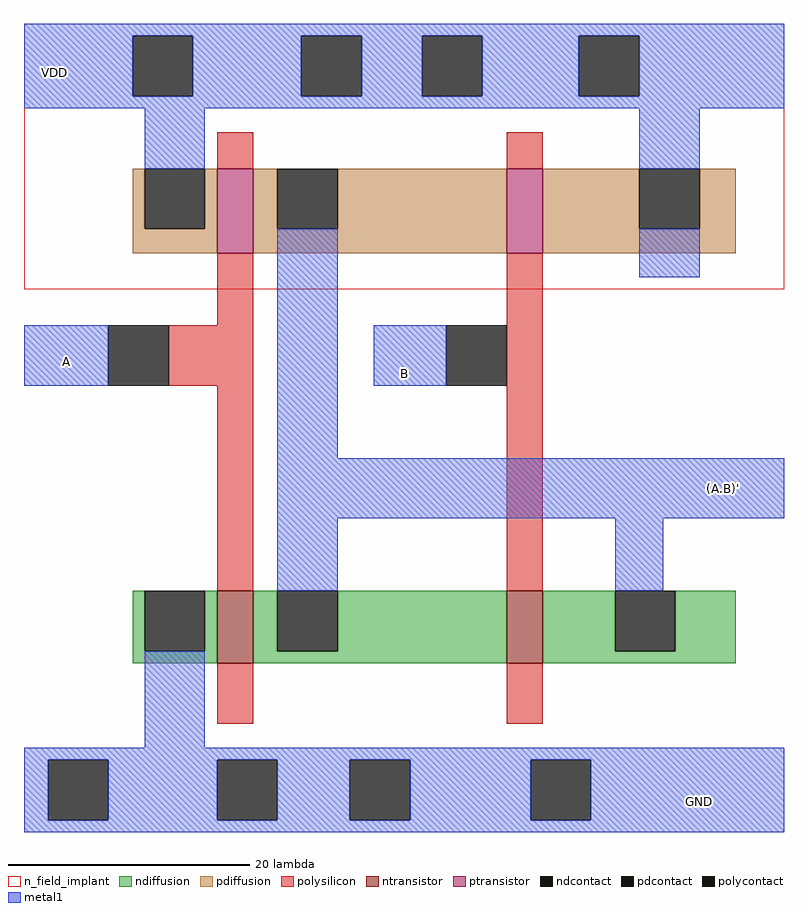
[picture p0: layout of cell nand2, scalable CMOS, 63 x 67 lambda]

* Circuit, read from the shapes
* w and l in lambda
.subckt nand2 A B GND VDD
M1 n1 A GND VSUBS nfet w=6 l=3
M2 n1 B n1 VSUBS nfet w=6 l=3
M3 n1 A VDD NWELL pfet w=7 l=3
M4 VDD B n1 NWELL pfet w=7 l=3
.ends

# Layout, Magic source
magic
tech scmos
<< n_field_implant >>
rect -19 -1 44 21
<< ntransistor >>
rect -3 -32 0 -26
rect 21 -32 24 -26
<< ptransistor >>
rect -3 2 0 9
rect 21 2 24 9
<< ndiffusion >>
rect -10 -31 -9 -26
rect -4 -31 -3 -26
rect -10 -32 -3 -31
rect 0 -31 2 -26
rect 7 -31 21 -26
rect 0 -32 21 -31
rect 24 -31 30 -26
rect 35 -31 40 -26
rect 24 -32 40 -31
<< pdiffusion >>
rect -10 4 -9 9
rect -4 4 -3 9
rect -10 2 -3 4
rect 0 4 2 9
rect 7 4 21 9
rect 0 2 21 4
rect 24 4 32 9
rect 37 4 40 9
rect 24 2 40 4
<< ndcontact >>
rect -9 -31 -4 -26
rect 2 -31 7 -26
rect 30 -31 35 -26
rect -17 -45 -12 -40
rect -3 -45 2 -40
rect 8 -45 13 -40
rect 23 -45 28 -40
<< pdcontact >>
rect -10 15 -5 20
rect 4 15 9 20
rect 14 15 19 20
rect 27 15 32 20
rect -9 4 -4 9
rect 2 4 7 9
rect 32 4 37 9
<< polysilicon >>
rect -3 9 0 12
rect 21 9 24 12
rect -3 -4 0 2
rect -7 -9 0 -4
rect -3 -26 0 -9
rect 21 -26 24 2
rect -3 -37 0 -32
rect 21 -37 24 -32
<< polycontact >>
rect -12 -9 -7 -4
rect 16 -9 21 -4
<< metal1 >>
rect -19 20 44 21
rect -19 15 -10 20
rect -5 15 4 20
rect 9 15 14 20
rect 19 15 27 20
rect 32 15 44 20
rect -19 14 44 15
rect -9 9 -4 14
rect 32 9 37 14
rect -19 -9 -12 -4
rect 2 -15 7 4
rect 32 0 37 4
rect 10 -9 16 -4
rect 2 -20 44 -15
rect 2 -26 7 -20
rect 30 -26 34 -20
rect -9 -39 -4 -31
rect -19 -40 44 -39
rect -19 -45 -17 -40
rect -12 -45 -3 -40
rect 2 -45 8 -40
rect 13 -45 23 -40
rect 28 -45 44 -40
rect -19 -46 44 -45
<< labels >>
rlabel metal1 -18 16 -15 18 4 VDD
rlabel metal1 -17 -8 -14 -6 3 A
rlabel metal1 11 -9 14 -7 1 B
rlabel metal1 37 -19 41 -16 7 (A.B)'
rlabel metal1 35 -45 39 -42 8 GND
<< end >>
